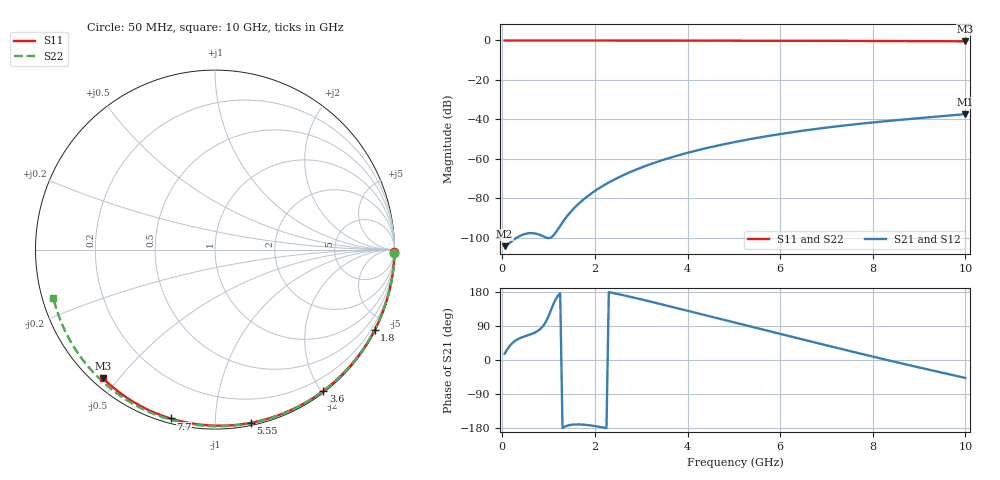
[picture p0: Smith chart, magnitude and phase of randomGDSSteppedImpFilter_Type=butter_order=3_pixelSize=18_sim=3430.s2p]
! freq	dB(S11)	phase(S11)	dB(S12)	phase(S12)
!  dB(S21)	phase(S21)	dB(S22)	phase(S22)
!S-par simulation data
#  GHz  S  DB  R 50
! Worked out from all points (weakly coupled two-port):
!   200 points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, 50 MHz to 10 GHz, reference 50 ohm
!   highest |S21| = -37.36 dB at 10 GHz (marker M1); lowest = -104.4 dB at 50 MHz (marker M2)
!   lowest |S11| = -0.4 dB at 10 GHz (marker M3), VSWR 39.31, Z = 1.54 - j22.8 ohm
!   |S11| at or under -10 dB: nowhere
!   |S22| runs from -0.5 to 0.0 dB; largest |S21 - S12| = 0
!   S11 on the Smith chart (normalised r, x): 50 MHz: open; 1.8 GHz: 0.04, -4.19; 3.6 GHz: 0.02, -2.03; 5.55 GHz: 0.02, -1.23; 7.7 GHz: 0.02, -0.77; 10 GHz: 0.03, -0.46
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0.05  -0.00 -0.8  -104.35 16.6  -104.35 16.6  -0.00 -1.0
0.45  -0.01 -6.8  -98.46 61.0  -98.46 61.0  -0.01 -8.6
0.85  -0.02 -12.8  -98.98 85.2  -98.98 85.2  -0.02 -16.2
1.3  -0.02 -19.5  -92.27 -179.1  -92.27 -179.1  -0.03 -24.6
1.75  -0.03 -26.1  -80.73 -170.6  -80.73 -170.6  -0.04 -32.9
1.8  -0.03 -26.8  -79.77 -171.1  -79.77 -171.1  -0.04 -33.8
1.95  -0.04 -29.0  -77.14 -173.4  -77.14 -173.4  -0.05 -36.6
2.1  -0.04 -31.2  -74.81 -176.3  -74.81 -176.3  -0.05 -39.3
2.3  -0.04 -34.1  -72.05 179.1  -72.05 179.1  -0.05 -42.9
2.5  -0.05 -37.0  -69.60 174.0  -69.60 174.0  -0.06 -46.5
2.9  -0.06 -42.7  -65.42 162.9  -65.42 162.9  -0.07 -53.6
3.4  -0.07 -49.7  -61.15 148.2  -61.15 148.2  -0.08 -62.3
3.6  -0.07 -52.5  -59.67 142.1  -59.67 142.1  -0.09 -65.7
4.3  -0.09 -62.0  -55.21 120.7  -55.21 120.7  -0.11 -77.4
5.05  -0.11 -72.0  -51.39 97.8  -51.39 97.8  -0.14 -89.5
5.55  -0.13 -78.4  -49.22 82.6  -49.22 82.6  -0.16 -97.4
6.1  -0.15 -85.3  -47.12 65.9  -47.12 65.9  -0.19 -105.8
6.7  -0.18 -92.7  -45.11 47.7  -45.11 47.7  -0.22 -114.9
7.7  -0.24 -104.7  -42.31 17.8  -42.31 17.8  -0.30 -129.6
8.35  -0.29 -112.3  -40.79 -1.2  -40.79 -1.2  -0.35 -139.0
9.2  -0.36 -122.0  -39.01 -25.2  -39.01 -25.2  -0.44 -151.4
10  -0.44 -131.0  -37.36 -47.4  -37.36 -47.4  -0.54 -163.2
